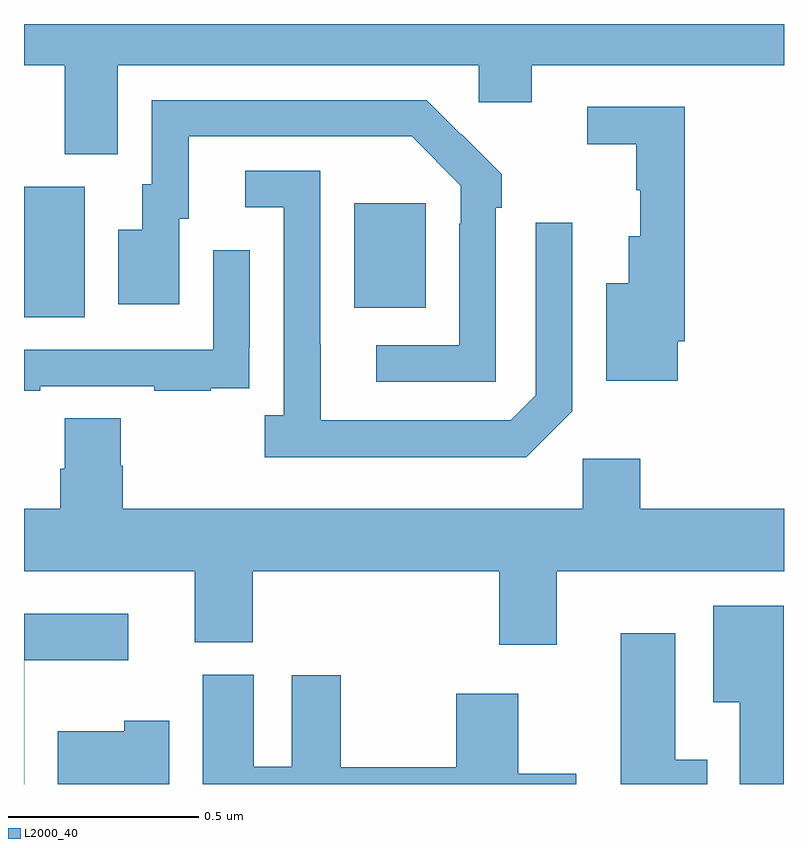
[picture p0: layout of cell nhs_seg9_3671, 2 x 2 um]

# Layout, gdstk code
import gdstk
lib = gdstk.Library(unit=1e-6, precision=1e-09)
def R(c, l, rs):  # rectangles x0, y0, x1, y1
    for r in rs: c.add(gdstk.rectangle(r[:2], r[2:], *l))
def P(c, l, *ps):  # polygons
    for p in ps: c.add(gdstk.Polygon(p, *l))
L2000_40 = (2000, 40)

nhs_seg9_3671 = lib.new_cell('nhs_seg9_3671')
R(nhs_seg9_3671, L2000_40, [(156,1223.728,156.16,1224.072), (156.869,1223.753,157.057,1224.028)])
P(nhs_seg9_3671, L2000_40, [(156.247,1224.392),(157.197,1224.392),(157.197,1224.294),(157.336,1224.294),(157.336,1224.392),(158,1224.392),(158,1224.5),(156,1224.5),(156,1224.392),(156.107,1224.392),(156.107,1224.157),(156.247,1224.157)],
  [(157.242,1224.017),(157.257,1224.017),(157.257,1224.105),(157.152,1224.21),(157.151,1224.209),(157.06,1224.3),(156.336,1224.3),(156.336,1224.078),(156.311,1224.078),(156.311,1223.959),(156.248,1223.959),(156.248,1223.763),(156.409,1223.763),(156.409,1223.988),(156.433,1223.988),(156.433,1224.204),(157.021,1224.204),(157.149,1224.075),(157.149,1223.975),(157.146,1223.975),(157.146,1223.655),(156.927,1223.655),(156.927,1223.559),(157.242,1223.559)],
  [(157.72,1223.665),(157.739,1223.665),(157.739,1224.282),(157.482,1224.282),(157.482,1224.184),(157.611,1224.184),(157.611,1224.063),(157.622,1224.063),(157.622,1223.941),(157.592,1223.941),(157.592,1223.818),(157.532,1223.818),(157.532,1223.561),(157.72,1223.561)],
  [(157.443,1223.481),(157.443,1223.977),(157.347,1223.977),(157.347,1223.523),(157.281,1223.457),(156.781,1223.457),(156.781,1223.657),(156.78,1223.657),(156.78,1224.114),(156.582,1224.114),(156.582,1224.018),(156.684,1224.018),(156.684,1223.47),(156.633,1223.47),(156.633,1223.36),(157.322,1223.36)],
  [(156.043,1223.547),(156.343,1223.547),(156.343,1223.535),(156.491,1223.535),(156.491,1223.541),(156.593,1223.541),(156.593,1223.65),(156.594,1223.65),(156.594,1223.905),(156.498,1223.905),(156.498,1223.643),(156,1223.643),(156,1223.535),(156.043,1223.535)],
  [(157.402,1223.06),(158,1223.06),(158,1223.224),(157.622,1223.224),(157.622,1223.356),(157.47,1223.356),(157.47,1223.224),(156.26,1223.224),(156.26,1223.337),(156.255,1223.337),(156.255,1223.462),(156.107,1223.462),(156.107,1223.33),(156.095,1223.33),(156.095,1223.224),(156,1223.224),(156,1223.06),(156.449,1223.06),(156.449,1222.873),(156.602,1222.873),(156.602,1223.06),(157.25,1223.06),(157.25,1222.866),(157.402,1222.866)],
  [(157.999,1222.969),(157.814,1222.969),(157.814,1222.715),(157.883,1222.715),(157.883,1222.5),(157.999,1222.5)],
  [(156.001,1222.826),(156.274,1222.826),(156.274,1222.948),(156,1222.948),(156,1222.5),(156.001,1222.5)],
  [(157.798,1222.564),(157.714,1222.564),(157.714,1222.897),(157.571,1222.897),(157.571,1222.5),(157.798,1222.5)],
  [(157.453,1222.527),(157.3,1222.527),(157.3,1222.738),(157.138,1222.738),(157.138,1222.544),(156.834,1222.544),(156.834,1222.786),(156.704,1222.786),(156.704,1222.545),(156.604,1222.545),(156.604,1222.788),(156.47,1222.788),(156.47,1222.5),(157.453,1222.5)],
  [(156.382,1222.666),(156.264,1222.666),(156.264,1222.639),(156.089,1222.639),(156.089,1222.5),(156.382,1222.5)])

lib.write_gds('nhs_seg9_3671.gds')
